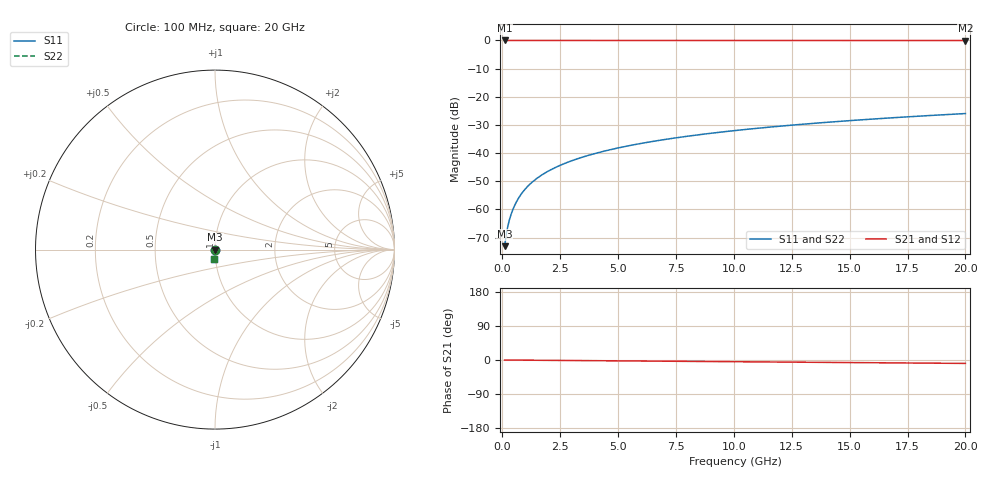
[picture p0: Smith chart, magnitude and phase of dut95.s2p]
! Touchstone file exported from HFSS 2026.1.0
!  File:  C:/ffzhzh/LocalFiles/Ansys_Project_Files/temp_train_TSV_95_1782959757_45308.aedt
!  Generated:  10:37:17 AM Jul  2, 2026
!  Design:  TSV
!  Project:  temp_train_TSV_95_1782959757_45308
! Variables:
!  h_bsmrdl = 2um
!  h_ox = 20um
!  h_rdl = 5um
!  h_sub = 89.13um
!  h_tmrdl = 5um
!  h_tsv = 89.13um
!  h_via = 3um
!  l_bsmrdl = 300um
!  l_sub = 427.5um
!  l_tmrdl = 200um
!  m_sub = 200um
!  pitch = 41.3um
!  r_tsv = 13.75um
!  s_tmrdl = 10um
!  w_bsmrdl = 18um
!  w_sub = 500um
!  w_tmrdl = 12um
!  x_tsv_center1 = 206um
!  x_tsv_center2 = 524um
!  x_tsv_center3 = 736um
!  x_tsv_center4 = 1054um
!  x_tsv_center5 = 1266um
!  x_tsv_center6 = 1584um
# GHz S MA R 50.000000
! Terminal data exported
! Port[1] = TSV1_1_T1
! Port[2] = TSV1_1_T2
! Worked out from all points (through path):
!   200 points, 100 MHz to 20 GHz, reference 50 ohm
!   highest |S21| = 0.00 dB at 100 MHz (marker M1); lowest = 0.0 dB at 20 GHz (marker M2)
!   group delay of S21, straight-line fit = 1.25 ps
!   lowest |S11| = -73.1 dB at 100 MHz (marker M3), VSWR 1.00, Z = 50 - j0.0203 ohm
!   |S11| at or under -10 dB: start of sweep to end of sweep
!   |S22| runs from -73.1 to -26.0 dB; largest |S21 - S12| = 3.1e-15
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0.1  0.0002224 -65.6  0.9999 -0.0  0.9999 -0.0  0.0002224 -65.6
! Gamma 0 0 0 0
! Port Impedance 50 0 50 0
0.2  0.0004241 -75.2  0.9999 -0.1  0.9999 -0.1  0.0004241 -75.2
0.3  0.0006391 -78.1  0.9999 -0.1  0.9999 -0.1  0.0006391 -78.1
0.4  0.0008641 -79.4  0.9998 -0.2  0.9998 -0.2  0.0008641 -79.4
0.5  0.001097 -80.3  0.9998 -0.2  0.9998 -0.2  0.001097 -80.3
0.7  0.00158 -81.5  0.9998 -0.3  0.9998 -0.3  0.00158 -81.5
0.8  0.001826 -82.1  0.9997 -0.4  0.9997 -0.4  0.001826 -82.1
1  0.002323 -83.1  0.9997 -0.5  0.9997 -0.5  0.002323 -83.1
1.2  0.002823 -83.9  0.9997 -0.6  0.9997 -0.6  0.002823 -83.9
1.4  0.003323 -84.6  0.9996 -0.6  0.9996 -0.6  0.003323 -84.6
1.7  0.004072 -85.4  0.9996 -0.8  0.9996 -0.8  0.004072 -85.4
2  0.004821 -86.1  0.9996 -0.9  0.9996 -0.9  0.004821 -86.1
2.7  0.006568 -87.3  0.9995 -1.2  0.9995 -1.2  0.006568 -87.3
3.5  0.008569 -88.2  0.9995 -1.6  0.9995 -1.6  0.008569 -88.2
4.2  0.01033 -88.8  0.9994 -1.9  0.9994 -1.9  0.01033 -88.8
5  0.01234 -89.4  0.9993 -2.3  0.9993 -2.3  0.01234 -89.4
6.8  0.01689 -90.6  0.9991 -3.1  0.9991 -3.1  0.01689 -90.6
8.3  0.02069 -91.5  0.999 -3.8  0.999 -3.8  0.02069 -91.5
10.1  0.02526 -92.6  0.9988 -4.6  0.9988 -4.6  0.02526 -92.6
13.4  0.03364 -94.3  0.9984 -6.0  0.9984 -6.0  0.03364 -94.3
16.7  0.04201 -96.0  0.998 -7.5  0.998 -7.5  0.04201 -96.0
20  0.05037 -97.6  0.9975 -9.0  0.9975 -9.0  0.05037 -97.6
